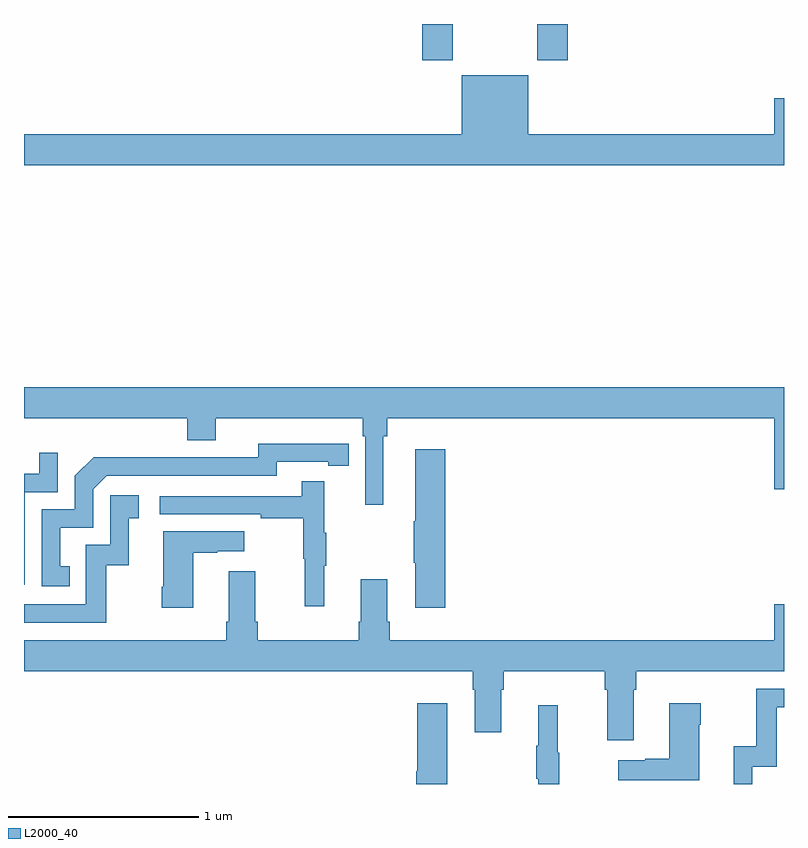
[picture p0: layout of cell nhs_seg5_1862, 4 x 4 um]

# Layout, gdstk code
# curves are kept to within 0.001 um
import gdstk
lib = gdstk.Library(unit=1e-6, precision=1e-09)
def R(c, l, rs):  # rectangles x0, y0, x1, y1
    for r in rs: c.add(gdstk.rectangle(r[:2], r[2:], *l))
def P(c, l, *ps):  # polygons
    for p in ps: c.add(gdstk.Polygon(p, *l))
L2000_40 = (2000, 40)

nhs_seg5_1862 = lib.new_cell('nhs_seg5_1862')
R(nhs_seg5_1862, L2000_40, [(223.097,894.609,223.257,894.799), (223.702,894.609,223.862,894.799)])
P(nhs_seg5_1862, L2000_40, [(225,894.409),(224.948,894.409),(224.948,894.22),(223.654,894.22),(223.654,894.529),(223.304,894.529),(223.304,894.22),(221,894.22),(221,894.056),(225,894.056)],
  [(222.892,892.628),(222.911,892.628),(222.911,892.724),(224.948,892.724),(224.948,892.35),(225,892.35),(225,892.888),(221,892.888),(221,892.724),(221.858,892.724),(221.858,892.607),(222.01,892.607),(222.01,892.724),(222.782,892.724),(222.782,892.628),(222.795,892.628),(222.795,892.269),(222.892,892.269)],
  [(221.24,891.945),(221.191,891.945),(221.191,892.149),(221.364,892.149),(221.364,892.35),(221.436,892.422),(222.33,892.422),(222.33,892.494),(222.602,892.494),(222.602,892.474),(222.71,892.474),(222.71,892.59),(222.234,892.591),(222.234,892.518),(221.774,892.518),(221.774,892.52),(221.366,892.52),(221.268,892.422),(221.268,892.245),(221.094,892.245),(221.094,891.84),(221.24,891.84)],
  [(223.217,892.561),(223.058,892.561),(223.058,892.181),(223.051,892.181),(223.051,891.964),(223.058,891.964),(223.058,891.726),(223.217,891.726)],
  [(221.004,892.335),(221.178,892.335),(221.178,892.543),(221.081,892.543),(221.081,892.431),(221,892.431),(221,891.849),(221.004,891.849)],
  [(222.581,891.947),(222.592,891.947),(222.592,892.121),(222.581,892.121),(222.581,892.393),(222.463,892.393),(222.463,892.314),(221.715,892.314),(221.715,892.218),(222.247,892.218),(222.247,892.198),(222.471,892.198),(222.471,891.984),(222.478,891.984),(222.478,891.735),(222.581,891.735)],
  [(221.434,891.951),(221.552,891.951),(221.552,892.197),(221.605,892.197),(221.605,892.318),(221.454,892.318),(221.454,892.059),(221.325,892.059),(221.325,891.744),(221,891.744),(221,891.648),(221.434,891.648)],
  [(221.89,892.015),(222.017,892.015),(222.017,892.025),(222.16,892.025),(222.16,892.129),(221.732,892.129),(221.732,891.838),(221.725,891.838),(221.725,891.726),(221.89,891.726)],
  [(224.209,891.296),(224.222,891.296),(224.222,891.392),(225,891.392),(225,891.745),(224.948,891.745),(224.948,891.556),(222.926,891.556),(222.926,891.652),(222.913,891.652),(222.913,891.877),(222.773,891.877),(222.773,891.652),(222.761,891.652),(222.761,891.556),(222.23,891.556),(222.23,891.652),(222.217,891.652),(222.217,891.919),(222.077,891.919),(222.077,891.652),(222.065,891.652),(222.065,891.556),(221,891.556),(221,891.392),(223.361,891.392),(223.361,891.296),(223.373,891.296),(223.373,891.072),(223.513,891.072),(223.513,891.296),(223.526,891.296),(223.526,891.392),(224.057,891.392),(224.057,891.296),(224.069,891.296),(224.069,891.03),(224.209,891.03)],
  [(224.832,890.889),(224.961,890.889),(224.961,891.204),(225,891.204),(225,891.3),(224.853,891.3),(224.853,890.998),(224.735,890.998),(224.735,890.799),(224.832,890.799)],
  [(224.554,891.11),(224.562,891.11),(224.562,891.223),(224.396,891.223),(224.396,890.933),(224.27,890.933),(224.27,890.923),(224.127,890.923),(224.127,890.819),(224.554,890.819)],
  [(223.228,891.223),(223.07,891.223),(223.07,890.865),(223.064,890.865),(223.064,890.799),(223.228,890.799)],
  [(223.816,890.964),(223.808,890.964),(223.808,891.214),(223.706,891.214),(223.706,891.001),(223.695,891.001),(223.695,890.827),(223.706,890.827),(223.706,890.799),(223.816,890.799)])

lib.write_gds('nhs_seg5_1862.gds')
